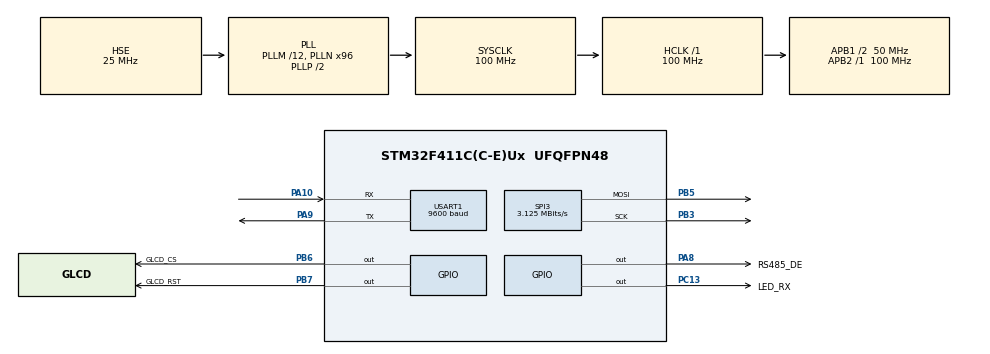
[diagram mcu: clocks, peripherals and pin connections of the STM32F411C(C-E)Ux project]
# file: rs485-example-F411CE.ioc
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Mcu.Family=STM32F4
Mcu.Name=STM32F411C(C-E)Ux
Mcu.Package=UFQFPN48
NVIC.PriorityGroup=NVIC_PRIORITYGROUP_4
NVIC.TIM1_BRK_TIM9_IRQn=true\:0\:0\:false\:false\:true\:true\:true\:true
NVIC.USART1_IRQn=true\:0\:0\:false\:false\:true\:true\:true\:true
PA10.Mode=Asynchronous
PA10.Signal=USART1_RX
PA13.Mode=Serial_Wire
PA13.Signal=SYS_JTMS-SWDIO
PA14.Mode=Serial_Wire
PA14.Signal=SYS_JTCK-SWCLK
PA8.GPIO_Label=RS485_DE
PA8.GPIO_Speed=GPIO_SPEED_FREQ_VERY_HIGH
PA8.Signal=GPIO_Output
PA9.Mode=Asynchronous
PA9.Signal=USART1_TX
PB3.Mode=TX_Only_Simplex_Unidirect_Master
PB3.Signal=SPI3_SCK
PB5.Mode=TX_Only_Simplex_Unidirect_Master
PB5.Signal=SPI3_MOSI
PB6.GPIO_Label=GLCD_CS
PB6.GPIO_Speed=GPIO_SPEED_FREQ_VERY_HIGH
PB6.Signal=GPIO_Output
PB7.GPIO_Label=GLCD_RST
PB7.GPIO_Speed=GPIO_SPEED_FREQ_VERY_HIGH
PB7.Signal=GPIO_Output
PC13-ANTI_TAMP.GPIO_Label=LED_RX
PC13-ANTI_TAMP.PinState=GPIO_PIN_SET
PC13-ANTI_TAMP.Signal=GPIO_Output
PH0\ -\ OSC_IN.Mode=HSE-External-Oscillator
PH0\ -\ OSC_IN.Signal=RCC_OSC_IN
PH1\ -\ OSC_OUT.Mode=HSE-External-Oscillator
PH1\ -\ OSC_OUT.Signal=RCC_OSC_OUT
ProjectManager.HeapSize=0x200
ProjectManager.StackSize=0x400
ProjectManager.TargetToolchain=STM32CubeIDE
RCC.48MHZClocksFreq_Value=50000000
RCC.AHBFreq_Value=100000000
RCC.APB1CLKDivider=RCC_HCLK_DIV2
RCC.APB1Freq_Value=50000000
RCC.APB1TimFreq_Value=100000000
RCC.APB2Freq_Value=100000000
RCC.APB2TimFreq_Value=100000000
RCC.CortexFreq_Value=100000000
RCC.HCLKFreq_Value=100000000
RCC.HSE_VALUE=25000000
RCC.HSI_VALUE=16000000
RCC.LSE_VALUE=32768
RCC.PLLM=12
RCC.PLLN=96
RCC.PLLSourceVirtual=RCC_PLLSOURCE_HSE
RCC.SYSCLKFreq_VALUE=100000000
RCC.SYSCLKSource=RCC_SYSCLKSOURCE_PLLCLK
RCC.VCOOutputFreq_Value=200000000
SPI3.BaudRatePrescaler=SPI_BAUDRATEPRESCALER_16
SPI3.CLKPhase=SPI_PHASE_2EDGE
SPI3.CalculateBaudRate=3.125 MBits/s
SPI3.Direction=SPI_DIRECTION_2LINES
SPI3.Mode=SPI_MODE_MASTER
SPI3.VirtualType=VM_MASTER
TIM9.Period=4999
TIM9.Prescaler=99
USART1.BaudRate=9600
USART1.VirtualMode=VM_ASYNC
VP_TIM9_VS_ClockSourceINT.Mode=Internal
board=custom

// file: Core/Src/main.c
/* USER CODE BEGIN Header */
/**
 ******************************************************************************
 * @file           : main.c
 * @brief          : Main program body
 ******************************************************************************
 * @attention
 *
 * Copyright (c) 2024 STMicroelectronics.
 * All rights reserved.
 *
 * This software is licensed under terms that can be found in the LICENSE file
 * in the root directory of this software component.
 * If no LICENSE file comes with this software, it is provided AS-IS.
 *
 ******************************************************************************
 */
/* USER CODE END Header */
#include "main.h"

/* USER CODE BEGIN Includes */
#include "lvgl.h"
#include "ST7920_SERIAL.h"

#include "screen/screen.h"
/* USER CODE END Includes */

/* USER CODE BEGIN PTD */
typedef enum{
	RS485_MODE_TRANSMIT,
	RS485_MODE_RECEIVE
}rs485_mode_e;
/* USER CODE END PTD */

SPI_HandleTypeDef hspi3;

TIM_HandleTypeDef htim9;

UART_HandleTypeDef huart1;

/* USER CODE BEGIN PV */
uint32_t rxValue_aux, rxValue, txvalue;
uint8_t flagRx = 0, Rs485_Conn = 0;
uint32_t ConnTimeout;

static lv_disp_drv_t DispDriver;
static lv_disp_draw_buf_t DrawBuf;
static lv_color_t buf1[128 * 64];
static lv_disp_t *disp;
/* USER CODE END PV */

void SystemClock_Config(void);
static void MX_GPIO_Init(void);
static void MX_SPI3_Init(void);
static void MX_TIM9_Init(void);
static void MX_USART1_UART_Init(void);

/* USER CODE BEGIN 0 */

/* === TIM Callbacks == */

void HAL_TIM_PeriodElapsedCallback(TIM_HandleTypeDef *htim){
	if (htim->Instance == TIM9){
		lv_tick_inc(5);
	}
}

/* === Display Fxns === */

void my_disp_flush(struct _lv_disp_drv_t * disp_drv, const lv_area_t * area, lv_color_t * color_p)
{
	int32_t x, y;
	/*It's a very slow but simple implementation.
	 *`set_pixel` needs to be written by you to a set pixel on the screen*/
	for(y = area->y1; y <= area->y2; y++) {
		for(x = area->x1; x <= area->x2; x++) {
			if (color_p->full == 0){
				SetPixel(x, y);
			}
			else{
				ClearPixel(x, y);
			}
			color_p++;
		}
	}

	lv_disp_flush_ready(disp_drv);         /* Indicate you are ready with the flushing*/
}

void _screen_init(){
	/* initialize ST7920 Display Driver */
	ST7920_Init();
	ST7920_GraphicMode(1);
	ST7920_Clear();

	/* Initialize basic LVGL */
	lv_init();
	lv_disp_draw_buf_init(&DrawBuf, buf1, NULL, sizeof(buf1));

	/* initialize the driver for LVGL */
	lv_disp_drv_init(&DispDriver);
	DispDriver.flush_cb = my_disp_flush;
	//  DispDriver.set_px_cb = my_set_px_cb;
	//  DispDriver.rounder_cb = my_rounder;
	DispDriver.draw_buf = &DrawBuf;
	DispDriver.hor_res = 128;
	DispDriver.ver_res = 64;
	disp = lv_disp_drv_register(&DispDriver);

	// Start the lvgl timebase timer
	HAL_TIM_Base_Start_IT(&htim9);

	// initialize screen position and coniguration
	screen_main_init();
}

/* === UART Callbacks === */
void HAL_UART_RxCpltCallback(UART_HandleTypeDef *huart){
	ConnTimeout = HAL_GetTick();
	flagRx = 1;
	HAL_GPIO_WritePin(LED_RX_GPIO_Port, LED_RX_Pin, GPIO_PIN_RESET);

	rxValue = rxValue_aux;
	HAL_UART_Receive_IT(huart, (uint8_t*)&rxValue_aux, sizeof(uint32_t));
}

void HAL_UART_TxCpltCallback(UART_HandleTypeDef *huart){

}

void HAL_UART_ErrorCallback(UART_HandleTypeDef *huart){
	HAL_UART_Receive_IT(huart, (uint8_t*)&rxValue_aux, sizeof(uint32_t));
}

/* === Rs485 Fxns === */

void _rs485_set_mode(rs485_mode_e mode){
	switch (mode){
	case RS485_MODE_RECEIVE:
		HAL_GPIO_WritePin(RS485_DE_GPIO_Port, RS485_DE_Pin, GPIO_PIN_RESET);
		break;
	case RS485_MODE_TRANSMIT:
		HAL_GPIO_WritePin(RS485_DE_GPIO_Port, RS485_DE_Pin, GPIO_PIN_SET);
		break;
	}
}

void _rs485_write32(uint32_t Value){
	_rs485_set_mode(RS485_MODE_TRANSMIT);
	HAL_UART_Transmit(&huart1, (uint8_t*)&Value, sizeof(uint32_t), 20);
	_rs485_set_mode(RS485_MODE_RECEIVE);
}

void _rs485_init(){
	txvalue = 0;
	_rs485_set_mode(RS485_MODE_RECEIVE);
	HAL_UART_Receive_IT(&huart1, (uint8_t*)&rxValue_aux, sizeof(uint32_t));
}

/* USER CODE END 0 */

int main(void)
{
	/* USER CODE BEGIN 1 */
	uint32_t Tick1000;
	uint32_t lvTick25;
	/* USER CODE END 1 */

	/* MCU Configuration--------------------------------------------------------*/

	/* Reset of all peripherals, Initializes the Flash interface and the Systick. */
	HAL_Init();

	/* Configure the system clock */
	SystemClock_Config();

	/* Initialize all configured peripherals */
	MX_GPIO_Init();
	MX_SPI3_Init();
	MX_TIM9_Init();
	MX_USART1_UART_Init();
	/* USER CODE BEGIN 2 */
	HAL_Delay(200);

	_rs485_init();
	_screen_init();
	/* USER CODE END 2 */

	/* Infinite loop */
	/* USER CODE BEGIN WHILE */
	Tick1000 = HAL_GetTick();
	lvTick25 = HAL_GetTick();
	while (1)
	{
		// process lvgl every 25 ms, and refresh the display
		if ((HAL_GetTick() - lvTick25) > 25){
			lv_task_handler();
			ST7920_Update();
		}
		// Sends `txvalue` every 1 second
		if ((HAL_GetTick() - Tick1000) > 1000){
			Tick1000 = HAL_GetTick();
			txvalue++;
			_rs485_write32(txvalue);
			screen_upd_IntValue(txvalue);
		}

		if (Rs485_Conn == 1 && (HAL_GetTick() - ConnTimeout) > 1500){
			Rs485_Conn = 0;
			screen_upd_Rs485_Status(SCREEN_RS485_OFFLINE);
		}

		if (flagRx == 1){
			flagRx = 0;
			HAL_Delay(50);
			HAL_GPIO_WritePin(LED_RX_GPIO_Port, LED_RX_Pin, GPIO_PIN_SET);
			screen_upd_ExtValue(rxValue);
			if (Rs485_Conn == 0){
				Rs485_Conn = 1;
				screen_upd_Rs485_Status(SCREEN_RS485_ONLINE);
			}
		}
		/* USER CODE END WHILE */

	}
}

void SystemClock_Config(void)
{
	RCC_OscInitTypeDef RCC_OscInitStruct = {0};
	RCC_ClkInitTypeDef RCC_ClkInitStruct = {0};

	/** Configure the main internal regulator output voltage
	 */
	__HAL_RCC_PWR_CLK_ENABLE();
	__HAL_PWR_VOLTAGESCALING_CONFIG(PWR_REGULATOR_VOLTAGE_SCALE1);

	/** Initializes the RCC Oscillators according to the specified parameters
	 * in the RCC_OscInitTypeDef structure.
	 */
	RCC_OscInitStruct.OscillatorType = RCC_OSCILLATORTYPE_HSE;
	RCC_OscInitStruct.HSEState = RCC_HSE_ON;
	RCC_OscInitStruct.PLL.PLLState = RCC_PLL_ON;
	RCC_OscInitStruct.PLL.PLLSource = RCC_PLLSOURCE_HSE;
	RCC_OscInitStruct.PLL.PLLM = 12;
	RCC_OscInitStruct.PLL.PLLN = 96;
	RCC_OscInitStruct.PLL.PLLP = RCC_PLLP_DIV2;
	RCC_OscInitStruct.PLL.PLLQ = 4;
	if (HAL_RCC_OscConfig(&RCC_OscInitStruct) != HAL_OK)
	{
		Error_Handler();
	}

	/** Initializes the CPU, AHB and APB buses clocks
	 */
	RCC_ClkInitStruct.ClockType = RCC_CLOCKTYPE_HCLK|RCC_CLOCKTYPE_SYSCLK
			|RCC_CLOCKTYPE_PCLK1|RCC_CLOCKTYPE_PCLK2;
	RCC_ClkInitStruct.SYSCLKSource = RCC_SYSCLKSOURCE_PLLCLK;
	RCC_ClkInitStruct.AHBCLKDivider = RCC_SYSCLK_DIV1;
	RCC_ClkInitStruct.APB1CLKDivider = RCC_HCLK_DIV2;
	RCC_ClkInitStruct.APB2CLKDivider = RCC_HCLK_DIV1;

	if (HAL_RCC_ClockConfig(&RCC_ClkInitStruct, FLASH_LATENCY_3) != HAL_OK)
	{
		Error_Handler();
	}
}

static void MX_SPI3_Init(void)
{

	/* SPI3 parameter configuration*/
	hspi3.Instance = SPI3;
	hspi3.Init.Mode = SPI_MODE_MASTER;
	hspi3.Init.Direction = SPI_DIRECTION_2LINES;
	hspi3.Init.DataSize = SPI_DATASIZE_8BIT;
	hspi3.Init.CLKPolarity = SPI_POLARITY_LOW;
	hspi3.Init.CLKPhase = SPI_PHASE_2EDGE;
	hspi3.Init.NSS = SPI_NSS_SOFT;
	hspi3.Init.BaudRatePrescaler = SPI_BAUDRATEPRESCALER_16;
	hspi3.Init.FirstBit = SPI_FIRSTBIT_MSB;
	hspi3.Init.TIMode = SPI_TIMODE_DISABLE;
	hspi3.Init.CRCCalculation = SPI_CRCCALCULATION_DISABLE;
	hspi3.Init.CRCPolynomial = 10;
	if (HAL_SPI_Init(&hspi3) != HAL_OK)
	{
		Error_Handler();
	}

}

static void MX_TIM9_Init(void)
{

	TIM_ClockConfigTypeDef sClockSourceConfig = {0};

	htim9.Instance = TIM9;
	htim9.Init.Prescaler = 99;
	htim9.Init.CounterMode = TIM_COUNTERMODE_UP;
	htim9.Init.Period = 4999;
	htim9.Init.ClockDivision = TIM_CLOCKDIVISION_DIV1;
	htim9.Init.AutoReloadPreload = TIM_AUTORELOAD_PRELOAD_DISABLE;
	if (HAL_TIM_Base_Init(&htim9) != HAL_OK)
	{
		Error_Handler();
	}
	sClockSourceConfig.ClockSource = TIM_CLOCKSOURCE_INTERNAL;
	if (HAL_TIM_ConfigClockSource(&htim9, &sClockSourceConfig) != HAL_OK)
	{
		Error_Handler();
	}

}

static void MX_USART1_UART_Init(void)
{

	huart1.Instance = USART1;
	huart1.Init.BaudRate = 9600;
	huart1.Init.WordLength = UART_WORDLENGTH_8B;
	huart1.Init.StopBits = UART_STOPBITS_1;
	huart1.Init.Parity = UART_PARITY_NONE;
	huart1.Init.Mode = UART_MODE_TX_RX;
	huart1.Init.HwFlowCtl = UART_HWCONTROL_NONE;
	huart1.Init.OverSampling = UART_OVERSAMPLING_16;
	if (HAL_UART_Init(&huart1) != HAL_OK)
	{
		Error_Handler();
	}

}

static void MX_GPIO_Init(void)
{
	GPIO_InitTypeDef GPIO_InitStruct = {0};

	/* GPIO Ports Clock Enable */
	__HAL_RCC_GPIOC_CLK_ENABLE();
	__HAL_RCC_GPIOH_CLK_ENABLE();
	__HAL_RCC_GPIOA_CLK_ENABLE();
	__HAL_RCC_GPIOB_CLK_ENABLE();

	/*Configure GPIO pin Output Level */
	HAL_GPIO_WritePin(LED_RX_GPIO_Port, LED_RX_Pin, GPIO_PIN_SET);

	/*Configure GPIO pin Output Level */
	HAL_GPIO_WritePin(RS485_DE_GPIO_Port, RS485_DE_Pin, GPIO_PIN_RESET);

	/*Configure GPIO pin Output Level */
	HAL_GPIO_WritePin(GPIOB, GLCD_CS_Pin|GLCD_RST_Pin, GPIO_PIN_RESET);

	/*Configure GPIO pin : LED_RX_Pin */
	GPIO_InitStruct.Pin = LED_RX_Pin;
	GPIO_InitStruct.Mode = GPIO_MODE_OUTPUT_PP;
	GPIO_InitStruct.Pull = GPIO_NOPULL;
	GPIO_InitStruct.Speed = GPIO_SPEED_FREQ_LOW;
	HAL_GPIO_Init(LED_RX_GPIO_Port, &GPIO_InitStruct);

	/*Configure GPIO pin : RS485_DE_Pin */
	GPIO_InitStruct.Pin = RS485_DE_Pin;
	GPIO_InitStruct.Mode = GPIO_MODE_OUTPUT_PP;
	GPIO_InitStruct.Pull = GPIO_NOPULL;
	GPIO_InitStruct.Speed = GPIO_SPEED_FREQ_VERY_HIGH;
	HAL_GPIO_Init(RS485_DE_GPIO_Port, &GPIO_InitStruct);

	/*Configure GPIO pins : GLCD_CS_Pin GLCD_RST_Pin */
	GPIO_InitStruct.Pin = GLCD_CS_Pin|GLCD_RST_Pin;
	GPIO_InitStruct.Mode = GPIO_MODE_OUTPUT_PP;
	GPIO_InitStruct.Pull = GPIO_NOPULL;
	GPIO_InitStruct.Speed = GPIO_SPEED_FREQ_VERY_HIGH;
	HAL_GPIO_Init(GPIOB, &GPIO_InitStruct);

}

void Error_Handler(void)
{
	__disable_irq();
	while (1)
	{
	}
}
